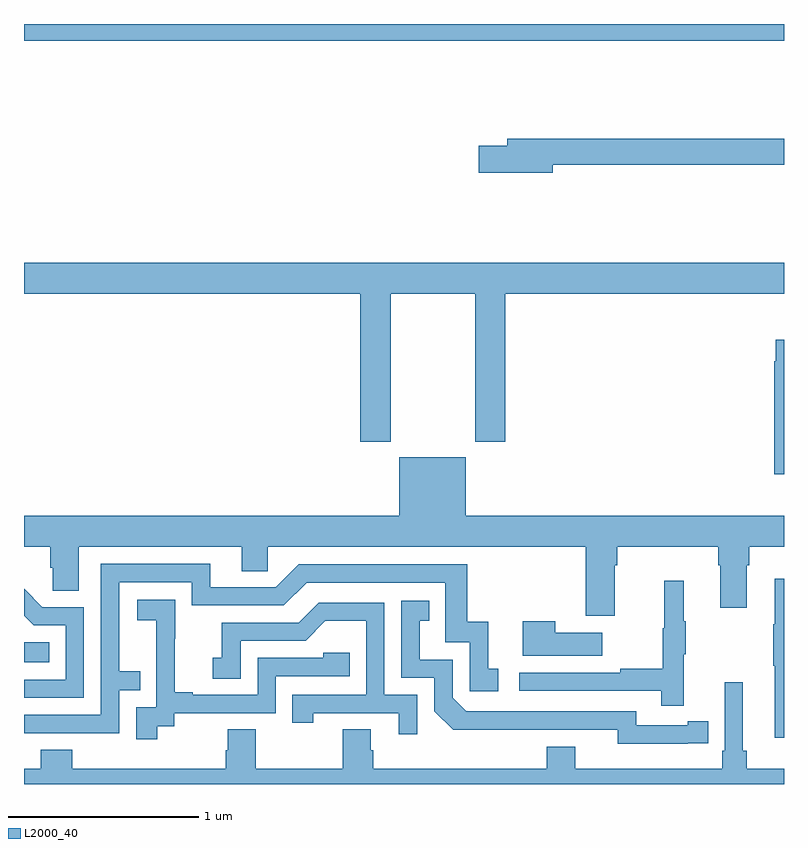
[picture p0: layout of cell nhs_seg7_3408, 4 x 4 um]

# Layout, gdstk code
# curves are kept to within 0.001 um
import gdstk
lib = gdstk.Library(unit=1e-6, precision=1e-09)
def R(c, l, rs):  # rectangles x0, y0, x1, y1
    for r in rs: c.add(gdstk.rectangle(r[:2], r[2:], *l))
def P(c, l, *ps):  # polygons
    for p in ps: c.add(gdstk.Polygon(p, *l))
L2000_40 = (2000, 40)

nhs_seg7_3408 = lib.new_cell('nhs_seg7_3408')
R(nhs_seg7_3408, L2000_40, [(327,1034.642,327.134,1034.746), (327,1037.912,331,1038)])
P(nhs_seg7_3408, L2000_40, [(329.782,1037.26),(331,1037.26),(331,1037.396),(329.543,1037.396),(329.543,1037.36),(329.394,1037.36),(329.394,1037.218),(329.782,1037.218)],
  [(328.929,1036.58),(329.374,1036.58),(329.374,1035.801),(329.534,1035.801),(329.534,1036.58),(331,1036.58),(331,1036.744),(327,1036.744),(327,1036.58),(328.769,1036.58),(328.769,1035.801),(328.929,1035.801)],
  [(331,1036.339),(330.957,1036.339),(330.957,1036.226),(330.949,1036.226),(330.949,1035.629),(331,1035.629)],
  [(330.109,1035.152),(330.122,1035.152),(330.122,1035.248),(330.653,1035.248),(330.653,1035.152),(330.665,1035.152),(330.665,1034.928),(330.805,1034.928),(330.805,1035.152),(330.818,1035.152),(330.818,1035.248),(331,1035.248),(331,1035.412),(329.326,1035.412),(329.326,1035.721),(328.976,1035.721),(328.976,1035.412),(327,1035.412),(327,1035.248),(327.137,1035.248),(327.137,1035.139),(327.15,1035.139),(327.15,1035.016),(327.289,1035.016),(327.289,1035.248),(328.145,1035.248),(328.145,1035.121),(328.284,1035.121),(328.284,1035.248),(329.957,1035.248),(329.957,1034.886),(330.109,1034.886)],
  [(327.005,1034.268),(327.501,1034.268),(327.501,1034.493),(327.611,1034.493),(327.611,1034.594),(327.501,1034.594),(327.501,1035.063),(327.882,1035.063),(327.882,1034.94),(328.368,1034.94),(328.488,1035.06),(329.217,1035.06),(329.217,1034.745),(329.346,1034.745),(329.346,1034.487),(329.497,1034.487),(329.497,1034.607),(329.444,1034.607),(329.444,1034.853),(329.333,1034.853),(329.333,1035.156),(328.446,1035.156),(328.326,1035.036),(327.979,1035.036),(327.979,1035.159),(327.405,1035.159),(327.405,1034.364),(327,1034.364),(327,1034.267)],
  [(331,1035.079),(330.95,1035.079),(330.95,1034.84),(330.943,1034.84),(330.943,1034.623),(330.95,1034.623),(330.95,1034.244),(331,1034.244)],
  [(330.473,1034.683),(330.484,1034.683),(330.484,1034.857),(330.473,1034.857),(330.473,1035.07),(330.37,1035.07),(330.37,1034.82),(330.363,1034.82),(330.363,1034.606),(330.139,1034.606),(330.139,1034.586),(329.607,1034.586),(329.607,1034.49),(330.355,1034.49),(330.355,1034.412),(330.473,1034.412)],
  [(327.315,1034.931),(327.096,1034.931),(327,1035.027),(327,1034.885),(327.05,1034.835),(327.219,1034.835),(327.219,1034.55),(327,1034.55),(327,1034.454),(327.315,1034.454)],
  [(327.7,1034.305),(327.792,1034.305),(327.792,1034.373),(328.326,1034.373),(328.326,1034.568),(328.715,1034.568),(328.715,1034.691),(328.575,1034.691),(328.575,1034.664),(328.23,1034.664),(328.23,1034.469),(327.889,1034.469),(327.889,1034.482),(327.794,1034.482),(327.794,1034.765),(327.795,1034.765),(327.795,1034.971),(327.597,1034.971),(327.597,1034.861),(327.695,1034.861),(327.695,1034.632),(327.696,1034.632),(327.696,1034.403),(327.591,1034.403),(327.591,1034.235),(327.7,1034.235)],
  [(330.494,1034.214),(330.602,1034.214),(330.602,1034.33),(330.494,1034.33),(330.494,1034.31),(330.222,1034.31),(330.222,1034.382),(329.328,1034.382),(329.256,1034.454),(329.256,1034.655),(329.083,1034.655),(329.083,1034.859),(329.132,1034.859),(329.132,1034.965),(328.986,1034.965),(328.986,1034.559),(329.16,1034.559),(329.16,1034.382),(329.258,1034.285),(330.126,1034.286),(330.126,1034.213)],
  [(329.07,1034.469),(328.896,1034.469),(328.896,1034.955),(328.55,1034.955),(328.445,1034.85),(328.042,1034.85),(328.042,1034.665),(327.993,1034.665),(327.993,1034.555),(328.14,1034.555),(328.14,1034.754),(328.482,1034.754),(328.586,1034.858),(328.8,1034.858),(328.8,1034.469),(328.411,1034.469),(328.411,1034.322),(328.522,1034.322),(328.522,1034.373),(328.973,1034.373),(328.973,1034.262),(329.07,1034.262)],
  [(330.043,1034.797),(329.795,1034.797),(329.795,1034.857),(329.624,1034.857),(329.624,1034.675),(330.043,1034.675)],
  [(331,1034.08),(330.803,1034.08),(330.803,1034.176),(330.784,1034.176),(330.784,1034.536),(330.687,1034.536),(330.687,1034.176),(330.674,1034.176),(330.674,1034.08),(329.902,1034.08),(329.902,1034.197),(329.75,1034.197),(329.75,1034.08),(328.838,1034.08),(328.838,1034.178),(328.825,1034.178),(328.825,1034.288),(328.678,1034.288),(328.678,1034.08),(328.221,1034.08),(328.221,1034.288),(328.073,1034.288),(328.073,1034.178),(328.061,1034.178),(328.061,1034.08),(327.254,1034.08),(327.254,1034.179),(327.089,1034.179),(327.089,1034.08),(327,1034.08),(327,1034),(331,1034)])

lib.write_gds('nhs_seg7_3408.gds')
